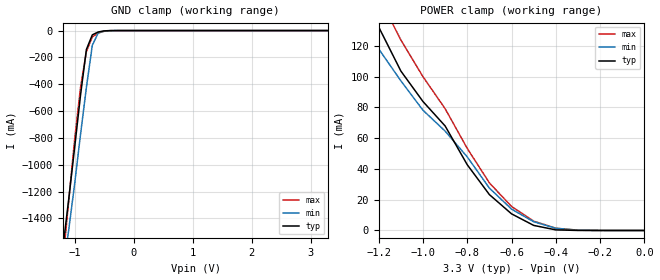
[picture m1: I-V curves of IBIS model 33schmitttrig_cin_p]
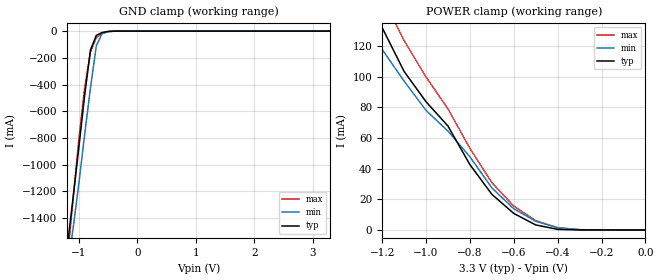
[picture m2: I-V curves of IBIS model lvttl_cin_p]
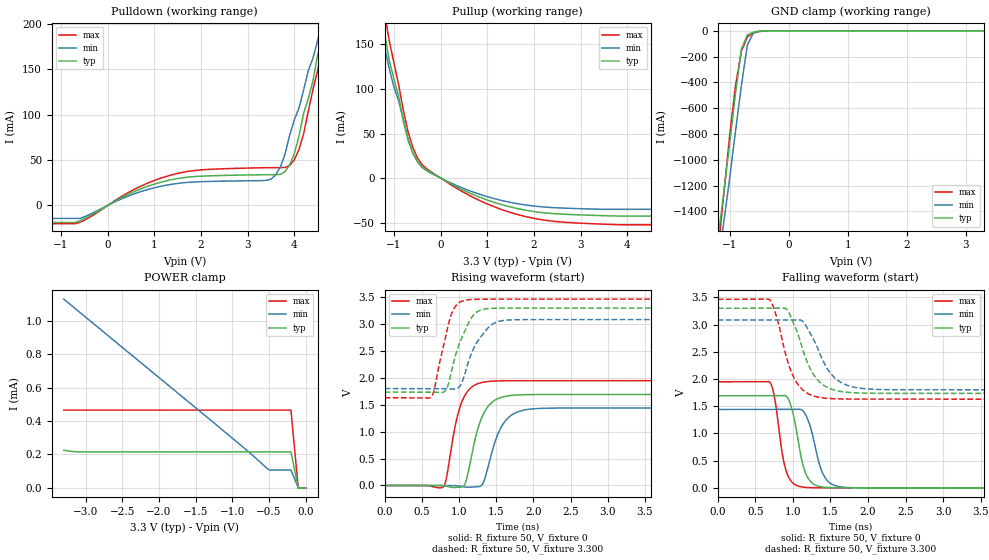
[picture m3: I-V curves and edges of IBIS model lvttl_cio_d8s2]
[IBIS Ver]   4.2
[File Name]  CPU.ibs
[File Rev]   3.0
[Date]   January 31, 2023
[Source]   Altera Corporation
[Notes]   - The models are designated as "Final" and have been correlated against physical device operation.
   - This IBIS model is checked using IBISCHK v5.0.4
   There are no known errors and warnings reported.
   - There are no known limitations for this IBIS model release.
   - Contact point: Altera Corporation, http://www.altera.com/corporate/contact/con-index.html
   - This file is generated using Quartus II Version 18.0.0 Build 614 04/24/2018 SJ Lite Edition
   - Unused IOs which have been assigned as tri-stated inputs or as outputs driving any signal in Quartus II
   arerepresented by the NC.
   - Only general purpose IBIS models are supported.
   Revision History
   - v1.0
   - Initial release of MAX 10 IBIS models. Models are based on pre-layout and early engineering info.
   - v2.0
   - Models are based on post-layout, may be missing certain features.
   - v3.0
   - Models have undergone final correlation against physical device operation.
[Disclaimer] Data is for modeling purposes only and is not guaranteed.
[Copyright]  Copyright (C) 2018  Intel Corporation. All rights reserved.
[Component]  10M50DAF484C6GES_CPU
[Manufacturer] Altera Corporation
[Package]
| RLC values are for 484 FBGA package
| variable  typ   min   max
R_pkg   531m   176m   874m
L_pkg   4.73nH   1.81nH   8.14nH
C_pkg   1.00pF   0.55pF   1.67pF
[Pin] signal_name   model_name   R_pin   L_pin   C_pin
A1   GND   GND
A10   LEDR[2]   lvttl_cio_d8s2   618.8m   5.890nH   1.083pF
A11   LEDR[8]   lvttl_cio_d8s2   572.3m   5.833nH   1.012pF
A12   SW[4]   lvttl_cin_p   548.0m   5.374nH   0.985pF
A13   SW[6]   lvttl_cin_p   565.0m   4.694nH   0.976pF
A14   SW[7]   lvttl_cin_p   539.8m   5.464nH   0.955pF
A16   HEX1[7]   lvttl_cio_d8s2   551.5m   4.756nH   1.106pF
A17   HEX1[4]   lvttl_cio_d8s2   622.8m   5.389nH   1.286pF
A18   HEX1[5]   lvttl_cio_d8s2   646.5m   5.203nH   1.362pF
A19   HEX2[7]   lvttl_cio_d8s2   797.4m   6.594nH   1.419pF
A20   HEX2[1]   lvttl_cio_d8s2   806.9m   7.451nH   1.498pF
A21   HEX2[3]   lvttl_rio_d8s2   852.2m   7.511nH   1.592pF
A22   GND   GND
A7   NOT_RESET   33schmitttrig_cin_p   794.5m   7.027nH   1.446pF
A8   LEDR[0]   lvttl_cio_d8s2   739.8m   7.540nH   1.314pF
A9   LEDR[1]   lvttl_cio_d8s2   635.8m   6.193nH   1.167pF
AA18  GND   GND
AA4   GND   GND
AB1   GND   GND
AB22  GND   GND
B10   LEDR[3]   lvttl_cio_d8s2   432.0m   3.866nH   0.928pF
B11   LEDR[9]   lvttl_cio_d8s2   432.2m   4.170nH   0.927pF
B12   SW[5]   lvttl_cin_p   428.1m   3.777nH   0.874pF
B13   GND   GND
B14   SW[8]   lvttl_cin_p   531.5m   4.798nH   0.935pF
B16   HEX1[3]   lvttl_cio_d8s2   548.2m   4.460nH   1.125pF
B17   HEX1[6]   lvttl_cio_d8s2   583.7m   4.729nH   1.194pF
B18   GND   GND
B19   HEX2[2]   lvttl_cio_d8s2   750.6m   6.930nH   1.380pF
B20   HEX2[0]   lvttl_rio_d8s2   784.2m   7.629nH   1.484pF
B21   HEX2[4]   lvttl_rio_d8s2   810.9m   7.496nH   1.501pF
B22   HEX2[6]   lvttl_rio_d8s2   874.6m   7.174nH   1.590pF
B6   GND   GND
B8   PUSH   33schmitttrig_cin_p   653.9m   5.581nH   1.235pF
B9   GND   GND
C10   SW[0]   lvttl_cin_p   360.7m   3.168nH   0.905pF
C11   SW[1]   lvttl_cin_p   356.1m   3.552nH   0.891pF
C12   SW[3]   lvttl_cin_p   372.1m   3.451nH   0.787pF
C13   LEDR[5]   lvttl_cio_d8s2   376.7m   3.306nH   0.800pF
C14   HEX0[0]   lvttl_cio_d8s2   374.1m   3.688nH   0.772pF
C15   HEX0[2]   lvttl_cio_d8s2   355.1m   3.646nH   0.863pF
C16   HEX0[3]   lvttl_cio_d8s2   414.4m   3.789nH   0.966pF
C17   HEX0[6]   lvttl_cio_d8s2   556.7m   4.473nH   0.983pF
C18   HEX1[0]   lvttl_cio_d8s2   528.4m   4.394nH   1.094pF
C19   HEX3[3]   lvttl_cio_d8s2   763.6m   6.298nH   1.380pF
C20   HEX3[4]   lvttl_rio_d8s2   749.1m   7.394nH   1.433pF
C22   HEX2[5]   lvttl_rio_d8s2   870.5m   8.142nH   1.672pF
D11   GND   GND
D12   SW[2]   lvttl_cin_p   352.0m   3.084nH   0.728pF
D13   LEDR[4]   lvttl_cio_d8s2   314.2m   2.794nH   0.627pF
D14   LEDR[7]   lvttl_cio_d8s2   281.2m   2.837nH   0.717pF
D15   HEX0[7]   lvttl_cio_d8s2   274.0m   2.723nH   0.721pF
D16   GND   GND
D17   HEX0[5]   lvttl_cio_d8s2   565.9m   4.962nH   0.996pF
D18   HEX1[1]   lvttl_rio_d8s2   514.2m   4.734nH   1.044pF
D19   HEX3[5]   lvttl_rio_d8s2   708.9m   6.563nH   1.329pF
D20   GND   GND
D22   HEX3[7]   lvttl_rio_d8s2   873.7m   7.558nH   1.558pF
D4   GND   GND
E14   LEDR[6]   lvttl_cio_d8s2   236.6m   2.129nH   0.596pF
E15   HEX0[1]   lvttl_cio_d8s2   324.9m   2.789nH   0.681pF
E16   HEX0[4]   lvttl_cio_d8s2   339.2m   3.035nH   0.711pF
E17   HEX3[6]   lvttl_rio_d8s2   483.8m   4.732nH   1.030pF
E18   HEX1[2]   lvttl_rio_d8s2   498.5m   4.115nH   1.034pF
E19   HEX4[2]   lvttl_rio_d8s2   565.4m   5.750nH   1.221pF
E2   GND   GND
E20   HEX4[1]   lvttl_rio_d8s2   632.0m   6.551nH   1.226pF
E21   HEX3[2]   lvttl_rio_d8s2   778.5m   6.938nH   1.410pF
E22   HEX3[1]   lvttl_rio_d8s2   802.9m   7.537nH   1.491pF
E7   GND   GND
F10   GND   GND
F11   VCCIO8   POWER
F12   VCCIO7   POWER
F13   GND   GND
F14   VCCIO7   POWER
F15   SW[9]   lvttl_cin_p   264.6m   2.631nH   0.845pF
F17   HEX4[7]   lvttl_rio_d8s2   466.8m   4.718nH   1.000pF
F18   HEX4[0]   lvttl_rio_d8s2   511.9m   5.442nH   1.043pF
F19   HEX4[5]   lvttl_rio_d8s2   607.3m   5.799nH   1.111pF
F20   HEX4[6]   lvttl_rio_d8s2   650.1m   5.945nH   1.357pF
F21   HEX3[0]   lvttl_rio_d8s2   680.2m   6.239nH   1.405pF
F9   VCCIO8   POWER
G10   VCCIO8   POWER
G11   VCCIO8   POWER
G12   VCCIO7   POWER
G13   VCCIO7   POWER
G14   VCCIO7   POWER
G15   GND   GND
G16   VCCD_PLL2   POWER
G18   GND   GND
G21   GND   GND
G6   GND   GND
G7   VCCD_PLL3   POWER
G8   GND   GND
H15   VCCA2   POWER
H16   VCCIO6   POWER
H19   HEX4[4]   lvttl_rio_d8s2   261.8m   2.683nH   0.704pF
H7   VCCA_ADC   POWER
H8   VCCA3   POWER
J16   GND   GND
J17   VCCIO6   POWER
J18   HEX4[3]   lvttl_rio_d8s2   189.6m   2.001nH   0.545pF
J19   GND   GND
J2   GND   GND
J20   HEX5[0]   lvttl_rio_d8s2   423.1m   3.410nH   0.853pF
J6   GND   GND
J7   VCCINT   POWER
K10   GND   GND
K11   VCC   POWER
K12   GND   GND
K13   VCC   POWER
K16   VCCIO6   POWER
K17   VCCIO6   POWER
K20   HEX5[1]   lvttl_rio_d8s2   392.4m   3.688nH   0.802pF
K3   GND   GND
K7   VCCIO1A   POWER
L10   VCC   POWER
L11   VCC   POWER
L12   VCC   POWER
L13   GND   GND
L16   VCCIO6   POWER
L17   GND   GND
L18   HEX5[2]   lvttl_rio_d8s2   290.6m   2.908nH   0.757pF
L19   HEX5[7]   lvttl_rio_d8s2   459.9m   3.942nH   0.878pF
L21   GND   GND
L5   GND   GND
L6   VCCIO1A   POWER
L7   VCCIO1B   POWER
M10   GND   GND
M11   VCC   POWER
M12   VCC   POWER
M13   VCC   POWER
M16   GND   GND
M17   VCCIO6   POWER
M19   GND   GND
M20   HEX5[4]   lvttl_rio_d8s2   432.9m   4.020nH   0.848pF
M6   VCCIO1B   POWER
M7   GND   GND
N10   VCC   POWER
N11   GND   GND
N12   VCC   POWER
N13   GND   GND
N16   VCCIO5   POWER
N17   VCCIO6   POWER
N18   HEX5[3]   lvttl_rio_d8s2   322.0m   3.439nH   0.764pF
N19   HEX5[5]   lvttl_rio_d8s2   329.7m   3.736nH   0.832pF
N20   HEX5[6]   lvttl_rio_d8s2   469.3m   4.833nH   0.955pF
N6   VCCIO2   POWER
N7   VCCIO2   POWER
P11   MAX10_CLK1_50   lvttl_cin_p   176.5m   1.812nH   0.651pF
P16   VCCIO5   POWER
P17   GND   GND
P2   GND   GND
P6   GND   GND
P7   VCCIO2   POWER
R16   VCCIO5   POWER
R17   VCCIO5   POWER
R19   GND   GND
R21   GND   GND
R6   VCCIO2   POWER
R8   VCCA1   POWER
T10   VCCIO3   POWER
T11   VCCIO3   POWER
T12   VCCIO4   POWER
T13   VCCIO4   POWER
T14   GND   GND
T15   VCCA4   POWER
T16   GND   GND
T17   VCCIO5   POWER
T4   GND   GND
T7   VCCD_PLL1   POWER
T8   GND   GND
T9   VCCIO3   POWER
U10   GND   GND
U11   VCCIO4   POWER
U12   VCCIO4   POWER
U13   GND   GND
U14   VCCIO4   POWER
U16   VCCD_PLL4   POWER
U8   VCCIO3   POWER
U9   VCCIO3   POWER
V19   GND   GND
V2   GND   GND
V6   GND   GND
W21   GND   GND
Y12   GND   GND
Y15   GND   GND
Y9   GND   GND
| Models and submodels in the file (4): 33schmitttrig_cin_p (Input), lvttl_cin_p (Input), lvttl_cio_d8s2 (I/O), lvttl_rio_d8s2 (I/O)
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|MODEL 33schmitttrig_cin_p
[Model]   33schmitttrig_cin_p
Model_type   Input
Polarity   Non-Inverting
Vinl   = 0.800
Vinh   = 1.700
C_comp 4.5pF   4.5pF   4.5pF
[Model Spec]
Vinh   1.700   1.700   1.700
Vinl   0.800   0.800   0.800
[Temperature Range]   25   85   0
[Voltage Range]   3.300   3.085   3.465
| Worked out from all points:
|   GND clamp passes 1 mA (typ) near -0.44 V on its own axis
|   POWER clamp passes 1 mA (typ) near -0.42 V on its own axis
[GND Clamp]
| voltage   I (typ)   I (min)   I (max)
-3.3V     -8.634A    -8.193A    -10.13A
-1.2V     -1.626A    -1.8A      -1.731A
-1.1V     -1.26A     -1.489A    -1.274A
-1V       -875.9mA   -1.147A    -816.4mA
-900mV    -483.9mA   -776.6mA   -425.4mA
-800mV    -141.1mA   -424mA     -157mA
-700mV    -32.06mA   -110.3mA   -47.74mA
-600mV    -10.6mA    -18.16mA   -17.79mA
-500mV    -2.181mA   -4.141mA   -5.472mA
-400mV    -180.7uA   -588.5uA   -1.032mA
3.3V      0A         0A         0A
[Power Clamp]
| voltage   I (typ)   I (min)   I (max)
-3.3V     557.2mA    500.4mA    642.4mA
-1.3V     145.9mA    132.8mA    171.4mA
-1.2V     132.2mA    117.9mA    152.2mA
-1.1V     103.6mA    97.26mA    123.8mA
-1V       83.77mA    78.12mA    99.91mA
-900mV    67.9mA     64.57mA    79.13mA
-800mV    42.69mA    47.79mA    53.29mA
-700mV    23.3mA     27.52mA    30.9mA
-600mV    10.8mA     13.87mA    15.6mA
-500mV    3.298mA    5.682mA    6.066mA
-400mV    388.6uA    1.425mA    1.475mA
0V        0A         0A         0A
|MODEL lvttl_cin_p
[Model]   lvttl_cin_p
Model_type   Input
Polarity   Non-Inverting
Vinl   = 0.800
Vinh   = 1.700
C_comp 4.5pF   4.5pF   4.5pF
[Model Spec]
Vinh   1.700   1.700   1.700
Vinl   0.800   0.800   0.800
[Temperature Range]   25   85   0
[Voltage Range]   3.300   3.085   3.465
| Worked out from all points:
|   GND clamp passes 1 mA (typ) near -0.44 V on its own axis
|   POWER clamp passes 1 mA (typ) near -0.42 V on its own axis
[GND Clamp]
| voltage   I (typ)   I (min)   I (max)
-3.3V     -8.619A    -8.18A     -10.11A
-1.2V     -1.623A    -1.798A    -1.728A
-1.1V     -1.258A    -1.486A    -1.271A
-1V       -874.3mA   -1.145A    -814.9mA
-900mV    -483mA     -775.4mA   -424.7mA
-800mV    -141mA     -423.4mA   -156.9mA
-700mV    -32.06mA   -110.2mA   -47.73mA
-600mV    -10.6mA    -18.16mA   -17.79mA
-500mV    -2.181mA   -4.141mA   -5.472mA
-400mV    -180.7uA   -588.5uA   -1.032mA
3.3V      0A         0A         0A
[Power Clamp]
| voltage   I (typ)   I (min)   I (max)
-3.3V     557.2mA    500.4mA    642.4mA
-1.3V     145.9mA    132.8mA    171.4mA
-1.2V     132.2mA    117.9mA    152.2mA
-1.1V     103.6mA    97.26mA    123.8mA
-1V       83.78mA    78.13mA    99.91mA
-900mV    67.9mA     64.57mA    79.13mA
-800mV    42.69mA    47.79mA    53.29mA
-700mV    23.3mA     27.52mA    30.9mA
-600mV    10.8mA     13.87mA    15.6mA
-500mV    3.298mA    5.682mA    6.066mA
-400mV    388.6uA    1.425mA    1.475mA
0V        0A         0A         0A
|MODEL lvttl_cio_d8s2
[Model]   lvttl_cio_d8s2
Model_type   I/O
Polarity   Non-Inverting
Enable Active-Low
Vinl   = 0.800
Vinh   = 1.700
Vmeas  = 1.650
Rref   = 10M
Cref   = 0pF
Vref   = 0.000
C_comp 4.5pF   4.5pF   4.5pF
[Model Spec]
Vinh   1.700   1.700   1.700
Vinl   0.800   0.800   0.800
[Temperature Range]   25   85   0
[Voltage Range]   3.300   3.085   3.465
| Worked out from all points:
|   slope of the pulldown table from 0 to 0.495 V, typ, clamps not added: 36.4 ohm
|   slope of the pullup table from 0 to 0.495 V, typ, clamps not added: 35.8 ohm
|   GND clamp passes 1 mA (typ) near -0.44 V on its own axis
|   rising waveform, R_fixture 50, V_fixture 0: 20-80 % time 200ps typ, 218ps min, 178ps max; typ from 0 V to 1.69 V
|   falling waveform, R_fixture 50, V_fixture 0: 20-80 % time 147ps typ, 165ps min, 126ps max; typ from 1.69 V to 0 V
|   rising waveform, R_fixture 50, V_fixture 3.300: 20-80 % time 229ps typ, 254ps min, 178ps max; typ from 1.74 V to 3.3 V
|   falling waveform, R_fixture 50, V_fixture 3.300: 20-80 % time 271ps typ, 296ps min, 232ps max; typ from 3.3 V to 1.74 V
[GND Clamp]
| voltage   I (typ)   I (min)   I (max)
-3.3V     -8.634A    -8.193A    -10.13A
-1.2V     -1.626A    -1.8A      -1.731A
-1.1V     -1.26A     -1.489A    -1.274A
-1V       -875.9mA   -1.147A    -816.4mA
-900mV    -483.9mA   -776.6mA   -425.4mA
-800mV    -141.1mA   -424mA     -157mA
-700mV    -32.06mA   -110.3mA   -47.74mA
-600mV    -10.6mA    -18.16mA   -17.79mA
-500mV    -2.181mA   -4.141mA   -5.472mA
-400mV    -180.7uA   -588.5uA   -1.032mA
3.3V      0A         0A         0A
[Pulldown]
| voltage   I (typ)   I (min)   I (max)
-3.3V     -18.72mA   -14.31mA   -20.14mA
-700mV    -18.72mA   -14.31mA   -20.14mA
1.3V      27.6mA     22.69mA    32.62mA
3.5V      33.8mA     28.97mA    41.58mA
3.8V      37.18mA    56.41mA    41.88mA
4V        57.05mA    94.33mA    50.29mA
4.1V      76.32mA    107.4mA    61.59mA
4.3V      117.8mA    148.5mA    104.1mA
4.5V      166.1mA    181.8mA    148.5mA
4.6V      180.2mA    202.6mA    176.1mA
4.7V      199.3mA    217.3mA    201mA
6.5V      579.5mA    551.9mA    628.9mA
[Power Clamp]
| voltage   I (typ)   I (min)   I (max)
-3.3V     225.6uA    1.131mA    466.2uA
-3.1V     215.6uA    1.059mA    466.2uA
-1V       215.6uA    298.2uA    466.2uA
-500mV    215.6uA    107uA      466.2uA
-200mV    215.6uA    107uA      466.2uA
-100mV    0A         0A         0A
0V        0A         0A         0A
[Pullup]
| voltage   I (typ)   I (min)   I (max)
-3.3V     631mA      566.6mA    724.1mA
-1.4V     200mA      182.9mA    230.5mA
-1.3V     179.7mA    163.1mA    208mA
-1.2V     161.4mA    146.2mA    183.6mA
-1.1V     131.3mA    122.1mA    153.4mA
-900mV    91.65mA    86.17mA    104.2mA
-800mV    63.42mA    65.74mA    75.79mA
-600mV    28.16mA    28.67mA    34.63mA
-300mV    9.16mA     8.194mA    10.42mA
500mV     -13.95mA   -11.87mA   -16.3mA
2.4V      -39.84mA   -33.16mA   -48.44mA
6.5V      -42.64mA   -35.1mA    -52.46mA
[Ramp]
dV/dt_r   1.015e+00/2.002e-10 8.643e-01/2.181e-10 1.170e+00/1.780e-10
dV/dt_f   9.382e-01/2.706e-10 7.703e-01/2.957e-10 1.101e+00/2.324e-10
R_load = 50ohms
[Rising Waveform]
R_fixture   = 50
V_fixture   = 0
V_fixture_min = 0
V_fixture_max = 0
| time   V (typ)   V (min)   V (max)
0s        167.1nV    3.019uV    321.1nV
789.8ps   -5.787mV   186.7uV    -22.07mV
830.3ps   -17.35mV   357.5uV    143.4mV
965.3ps   -35.18mV   -4.327mV   1.219V
1.073ns   13.32mV    -27.63mV   1.662V
1.229ns   935.6mV    -25.72mV   1.88V
1.31ns    1.276V     13.65mV    1.917V
1.573ns   1.641V     1.099V     1.946V
1.883ns   1.688V     1.405V     1.949V
6.744ns   1.692V     1.441V     1.949V
[Falling Waveform]
R_fixture   = 50
V_fixture   = 0
V_fixture_min = 0
V_fixture_max = 0
| time   V (typ)   V (min)   V (max)
0s        1.692V     1.441V     1.949V
697.5ps   1.692V     1.441V     1.932V
757.9ps   1.692V     1.441V     1.646V
905.4ps   1.69V      1.44V      334.3mV
999.3ps   1.383V     1.441V     90.21mV
1.1ns     628.2mV    1.443V     22.01mV
1.207ns   166.6mV    1.224V     4.934mV
1.402ns   13.95mV    252.9mV    333.8uV
1.616ns   917.7uV    21.94mV    16.27uV
6.7ns     -145.7nV   3.247uV    114.6nV
[Rising Waveform]
R_fixture   = 50
V_fixture   = 3.300
V_fixture_min   = 3.085
V_fixture_max   = 3.465
| time   V (typ)   V (min)   V (max)
0s        1.736V     1.801V     1.63V
627.8ps   1.735V     1.801V     1.65V
810ps     1.752V     1.799V     2.705V
891.1ps   2.08V      1.794V     3.163V
1.006ns   2.645V     1.837V     3.404V
1.087ns   2.898V     2.12V      3.446V
1.195ns   3.171V     2.546V     3.461V
1.33ns    3.276V     2.832V     3.464V
1.607ns   3.299V     3.07V      3.465V
6.744ns   3.3V       3.085V     3.465V
[Falling Waveform]
R_fixture   = 50
V_fixture   = 3.300
V_fixture_min   = 3.085
V_fixture_max   = 3.465
| time   V (typ)   V (min)   V (max)
0s        3.3V       3.085V     3.465V
697.5ps   3.3V       3.085V     3.449V
791.4ps   3.3V       3.085V     3.101V
905.4ps   3.295V     3.085V     2.442V
1.013ns   3.013V     3.085V     2.028V
1.147ns   2.472V     3.036V     1.782V
1.341ns   1.966V     2.528V     1.665V
1.576ns   1.788V     1.999V     1.636V
1.952ns   1.741V     1.823V     1.63V
6.7ns     1.736V     1.801V     1.63V
